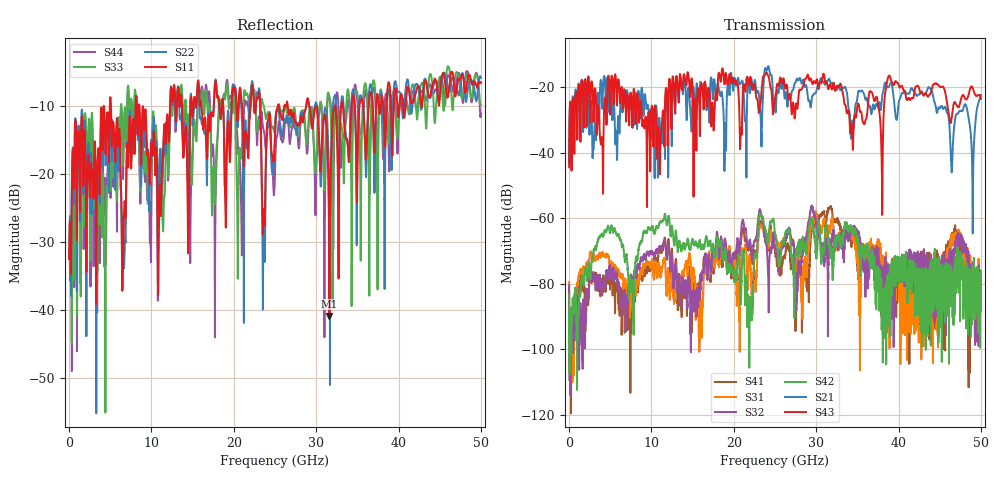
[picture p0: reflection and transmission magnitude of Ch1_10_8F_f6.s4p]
!Agilent Technologies,N5247A,US51170199,A.09.90.13
!Agilent N5247A: A.09.90.13
!Date: Wednesday, December 09, 2015 09:33:45
!Correction: S11(Full 4 Port(1,2,3,4))
!S12(Full 4 Port(1,2,3,4))
!S13(Full 4 Port(1,2,3,4))
!S14(Full 4 Port(1,2,3,4))
!S21(Full 4 Port(1,2,3,4))
!S22(Full 4 Port(1,2,3,4))
!S23(Full 4 Port(1,2,3,4))
!S24(Full 4 Port(1,2,3,4))
!S31(Full 4 Port(1,2,3,4))
!S32(Full 4 Port(1,2,3,4))
!S33(Full 4 Port(1,2,3,4))
!S34(Full 4 Port(1,2,3,4))
!S41(Full 4 Port(1,2,3,4))
!S42(Full 4 Port(1,2,3,4))
!S43(Full 4 Port(1,2,3,4))
!S44(Full 4 Port(1,2,3,4))
!S4P File: Measurements: <S11,S12,S13,S14>,
!<S21,S22,S23,S24>,
!<S31,S32,S33,S34>,
!<S41,S42,S43,S44>:
# Hz S  dB  R 50
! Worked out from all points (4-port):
!   3201 points, 10 MHz to 50 GHz, reference 50 ohm
!   strongest paths, dB at 10 MHz, 12.51 GHz, 25 GHz, 37.5 GHz, 50 GHz:
!     S43: -44.4, -19.7, -23.6, -25.5, -23.5
!     S21: -43.3, -27.2, -25.8, -26.1, -22.4
!     S42: -83.2, -62.5, -64.4, -76.5, -75.9
!     S32: -80.4, -71.9, -69.2, -71.0, -77.0
!     S31: -79.4, -76.0, -65.8, -67.8, -79.2
!     S41: -84.1, -69.9, -70.2, -73.8, -81.3
!   lowest |S11| = -40.9 dB at 31.61 GHz (marker M1), VSWR 1.02, Z = 50.7 - j0.555 ohm
!   |S11| at or under -10 dB: start of sweep to 4.949 GHz; 8.54 GHz to 12.26 GHz (3.72 GHz wide, 35.8 % of centre); 29.15 GHz to 32.29 GHz (3.133 GHz wide, 10.2 % of centre)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
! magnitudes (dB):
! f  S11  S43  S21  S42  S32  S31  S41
! 10 MHz  -32.5  -44.4  -43.3  -83.2  -80.4  -79.4  -84.1
! 12.59 GHz  -9.3  -16.7  -18.8  -64.3  -76.3  -80.1  -74.3
! 23.65 GHz  -25.3  -16.5  -17.5  -61.9  -63.4  -64.5  -64.9
! 28.94 GHz  -9.0  -16.2  -21.9  -66.5  -63.2  -73.1  -82.3
! 31.61 GHz  -40.9  -19.4  -17.5  -68.8  -67.9  -63.0  -56.7
! 49 GHz  -6.8  -20.1  -60.4  -80.9  -77.8  -82.2  -73.6
! 50 GHz  -6.6  -23.5  -22.4  -75.9  -77.0  -79.2  -81.3
